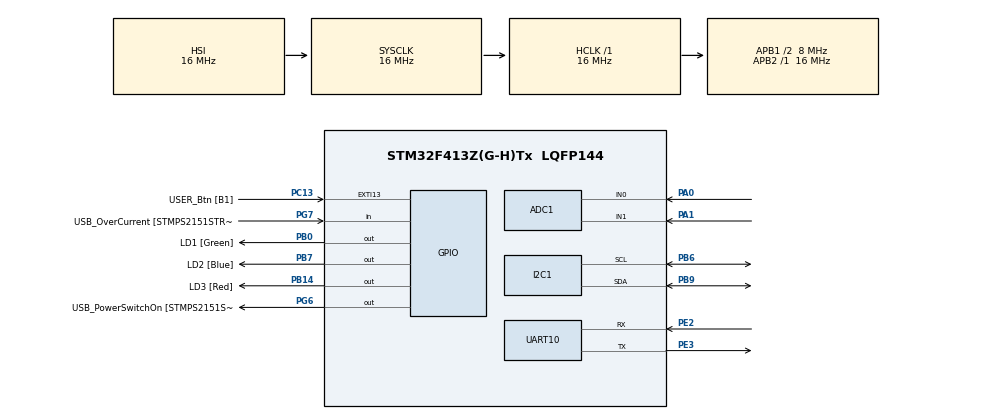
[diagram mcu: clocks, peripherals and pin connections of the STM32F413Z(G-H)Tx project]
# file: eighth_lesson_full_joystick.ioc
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ADC1.Channel-0\#ChannelRegularConversion=ADC_CHANNEL_0
ADC1.Channel-1\#ChannelRegularConversion=ADC_CHANNEL_1
ADC1.ClockPrescaler=ADC_CLOCK_SYNC_PCLK_DIV8
ADC1.ContinuousConvMode=ENABLE
ADC1.DMAContinuousRequests=ENABLE
ADC1.NbrOfConversion=2
ADC1.NbrOfConversionFlag=1
ADC1.Rank-0\#ChannelRegularConversion=1
ADC1.Rank-1\#ChannelRegularConversion=2
ADC1.SamplingTime-0\#ChannelRegularConversion=ADC_SAMPLETIME_480CYCLES
ADC1.SamplingTime-1\#ChannelRegularConversion=ADC_SAMPLETIME_480CYCLES
ADC1.ScanConvMode=ENABLE
ADC1.master=1
Dma.ADC1.0.Direction=DMA_PERIPH_TO_MEMORY
Dma.ADC1.0.FIFOMode=DMA_FIFOMODE_DISABLE
Dma.ADC1.0.Instance=DMA2_Stream0
Dma.ADC1.0.MemDataAlignment=DMA_MDATAALIGN_HALFWORD
Dma.ADC1.0.MemInc=DMA_MINC_ENABLE
Dma.ADC1.0.Mode=DMA_CIRCULAR
Dma.ADC1.0.PeriphDataAlignment=DMA_PDATAALIGN_HALFWORD
Dma.ADC1.0.PeriphInc=DMA_PINC_DISABLE
Dma.ADC1.0.Priority=DMA_PRIORITY_LOW
Dma.Request0=ADC1
Mcu.Family=STM32F4
Mcu.Name=STM32F413Z(G-H)Tx
Mcu.Package=LQFP144
NVIC.DMA2_Stream0_IRQn=true\:0\:0\:false\:false\:true\:false\:true
NVIC.I2C1_EV_IRQn=true\:0\:0\:false\:false\:true\:true\:true
NVIC.PriorityGroup=NVIC_PRIORITYGROUP_4
NVIC.UART10_IRQn=true\:0\:0\:false\:false\:true\:true\:true
PA0.Signal=ADCx_IN0
PA1.Signal=ADCx_IN1
PA10.GPIO_Label=USB_ID
PA10.Signal=USB_OTG_FS_ID
PA11.GPIO_Label=USB_DM
PA11.Signal=USB_OTG_FS_DM
PA12.GPIO_Label=USB_DP
PA12.Signal=USB_OTG_FS_DP
PA13.GPIO_Label=TMS
PA13.Mode=Trace_Asynchronous_SW
PA13.Signal=SYS_JTMS-SWDIO
PA14.GPIO_Label=TCK
PA14.Mode=Trace_Asynchronous_SW
PA14.Signal=SYS_JTCK-SWCLK
PA8.GPIO_Label=USB_SOF [TP1]
PA8.Signal=USB_OTG_FS_SOF
PA9.GPIO_Label=USB_VBUS
PA9.Signal=USB_OTG_FS_VBUS
PB0.GPIO_Label=LD1 [Green]
PB0.Signal=GPIO_Output
PB14.GPIO_Label=LD3 [Red]
PB14.Signal=GPIO_Output
PB3.GPIO_Label=SWO
PB3.Mode=Trace_Asynchronous_SW
PB3.Signal=SYS_JTDO-SWO
PB6.Mode=I2C
PB6.Signal=I2C1_SCL
PB7.GPIO_Label=LD2 [Blue]
PB7.Signal=GPIO_Output
PB9.Mode=I2C
PB9.Signal=I2C1_SDA
PC11.Signal=UART4_RX
PC13.GPIO_Label=USER_Btn [B1]
PC13.Signal=GPXTI13
PC14-OSC32_IN.Signal=RCC_OSC32_IN
PC15-OSC32_OUT.Signal=RCC_OSC32_OUT
PD8.GPIO_Label=STLK_RX [STM32F103CBT6_PA3]
PD8.Signal=USART3_TX
PD9.GPIO_Label=STLK_TX [STM32F103CBT6_PA2]
PD9.Signal=USART3_RX
PE2.Mode=Asynchronous
PE2.Signal=UART10_RX
PE3.Mode=Asynchronous
PE3.Signal=UART10_TX
PG6.GPIO_Label=USB_PowerSwitchOn [STMPS2151STR_EN]
PG6.Signal=GPIO_Output
PG7.GPIO_Label=USB_OverCurrent [STMPS2151STR_FAULT]
PG7.Signal=GPIO_Input
PH0\ -\ OSC_IN.GPIO_Label=MCO
PH0\ -\ OSC_IN.Signal=RCC_OSC_IN
PH1\ -\ OSC_OUT.Signal=RCC_OSC_OUT
ProjectManager.HeapSize=0x200
ProjectManager.StackSize=0x400
ProjectManager.TargetToolchain=MDK-ARM V5
RCC.48MHZClocksFreq_Value=24000000
RCC.AHBFreq_Value=16000000
RCC.APB1CLKDivider=RCC_HCLK_DIV2
RCC.APB1Freq_Value=8000000
RCC.APB1TimFreq_Value=16000000
RCC.APB2Freq_Value=16000000
RCC.APB2TimFreq_Value=16000000
RCC.CortexFreq_Value=16000000
RCC.HCLKFreq_Value=16000000
RCC.HSE_VALUE=8000000
RCC.HSI_VALUE=16000000
RCC.PLLMUL=RCC_PLL_MUL9
RCC.PRESCALERUSB=RCC_USBCLKSOURCE_PLL_DIV1_5
RCC.SYSCLKFreq_VALUE=16000000
RCC.SYSCLKSourceVirtual=RCC_SYSCLKSOURCE_PLLCLK
RCC.USBFreq_Value=96000000
RCC.VCOOutputFreq_Value=192000000
SH.ADCx_IN0.0=ADC1_IN0,IN0
SH.ADCx_IN1.0=ADC1_IN1,IN1
UART10.VirtualMode=Asynchronous
board=NUCLEO-F413ZH

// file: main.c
/* USER CODE BEGIN Header */
/**
  ******************************************************************************
  * @file           : main.c
  * @brief          : Main program body
  ******************************************************************************
  * @attention
  *
  * <h2><center>&copy; Copyright (c) 2022 STMicroelectronics.
  * All rights reserved.</center></h2>
  *
  * This software component is licensed by ST under BSD 3-Clause license,
  * the "License"; You may not use this file except in compliance with the
  * License. You may obtain a copy of the License at:
  *                        opensource.org/licenses/BSD-3-Clause
  *
  ******************************************************************************
  */
/* USER CODE END Header */
#include "main.h"

/* USER CODE BEGIN Includes */
#include "display.h"
#include "joystick.h"
/* USER CODE END Includes */

/* USER CODE BEGIN PD */
#define ADC_CHANNEL_NUMBER 2
/* USER CODE END PD */

ADC_HandleTypeDef hadc1;
DMA_HandleTypeDef hdma_adc1;
I2C_HandleTypeDef hi2c1;
UART_HandleTypeDef huart10;

/* USER CODE BEGIN PV */
uint16_t adc_data[ADC_CHANNEL_NUMBER];
uint8_t response_from_stm[12];
_Bool get_message_from_stm = 0;
/* USER CODE END PV */

void SystemClock_Config(void);
static void MX_GPIO_Init(void);
static void MX_DMA_Init(void);
static void MX_ADC1_Init(void);
static void MX_I2C1_Init(void);
static void MX_UART10_Init(void);

/* USER CODE BEGIN 0 */

void HAL_UART_RxCpltCallback(UART_HandleTypeDef *huart)
{
	get_message_from_stm = 1;
}

/* USER CODE END 0 */

int main(void)
{

  /* MCU Configuration--------------------------------------------------------*/

  /* Reset of all peripherals, Initializes the Flash interface and the Systick. */
  HAL_Init();

  /* Configure the system clock */
  SystemClock_Config();

  /* Initialize all configured peripherals */
  MX_GPIO_Init();
  MX_DMA_Init();
  MX_ADC1_Init();
  MX_I2C1_Init();
  MX_UART10_Init();
  /* USER CODE BEGIN 2 */
	Display_Init();
	HAL_ADC_Start_DMA(&hadc1, (uint32_t *)adc_data, 2);
	HAL_UART_Receive_IT(&huart10, response_from_stm, 12);
  /* USER CODE END 2 */

  /* Infinite loop */
  /* USER CODE BEGIN WHILE */
  while (1)
  {
		HAL_UART_Receive_IT(&huart10, response_from_stm, 12);

		I2C_send(0x2,0); // cursor to the beginning of the line

		Uart_Transmit_Joystick_Data(adc_data); // Send message to PSD for movement

		if(get_message_from_stm == 1)
		{
			Proccess_Data_and_View_To_Display(response_from_stm);
			get_message_from_stm = 0;
		}
    /* USER CODE END WHILE */

  }
}

void SystemClock_Config(void)
{
  RCC_OscInitTypeDef RCC_OscInitStruct = {0};
  RCC_ClkInitTypeDef RCC_ClkInitStruct = {0};

  /** Configure the main internal regulator output voltage
  */
  __HAL_RCC_PWR_CLK_ENABLE();
  __HAL_PWR_VOLTAGESCALING_CONFIG(PWR_REGULATOR_VOLTAGE_SCALE1);
  /** Initializes the RCC Oscillators according to the specified parameters
  * in the RCC_OscInitTypeDef structure.
  */
  RCC_OscInitStruct.OscillatorType = RCC_OSCILLATORTYPE_HSI;
  RCC_OscInitStruct.HSIState = RCC_HSI_ON;
  RCC_OscInitStruct.HSICalibrationValue = RCC_HSICALIBRATION_DEFAULT;
  RCC_OscInitStruct.PLL.PLLState = RCC_PLL_NONE;
  if (HAL_RCC_OscConfig(&RCC_OscInitStruct) != HAL_OK)
  {
    Error_Handler();
  }
  /** Initializes the CPU, AHB and APB buses clocks
  */
  RCC_ClkInitStruct.ClockType = RCC_CLOCKTYPE_HCLK|RCC_CLOCKTYPE_SYSCLK
                              |RCC_CLOCKTYPE_PCLK1|RCC_CLOCKTYPE_PCLK2;
  RCC_ClkInitStruct.SYSCLKSource = RCC_SYSCLKSOURCE_HSI;
  RCC_ClkInitStruct.AHBCLKDivider = RCC_SYSCLK_DIV1;
  RCC_ClkInitStruct.APB1CLKDivider = RCC_HCLK_DIV2;
  RCC_ClkInitStruct.APB2CLKDivider = RCC_HCLK_DIV1;

  if (HAL_RCC_ClockConfig(&RCC_ClkInitStruct, FLASH_LATENCY_0) != HAL_OK)
  {
    Error_Handler();
  }
}

static void MX_ADC1_Init(void)
{

  ADC_ChannelConfTypeDef sConfig = {0};

  /** Configure the global features of the ADC (Clock, Resolution, Data Alignment and number of conversion)
  */
  hadc1.Instance = ADC1;
  hadc1.Init.ClockPrescaler = ADC_CLOCK_SYNC_PCLK_DIV8;
  hadc1.Init.Resolution = ADC_RESOLUTION_12B;
  hadc1.Init.ScanConvMode = ENABLE;
  hadc1.Init.ContinuousConvMode = ENABLE;
  hadc1.Init.DiscontinuousConvMode = DISABLE;
  hadc1.Init.ExternalTrigConvEdge = ADC_EXTERNALTRIGCONVEDGE_NONE;
  hadc1.Init.ExternalTrigConv = ADC_SOFTWARE_START;
  hadc1.Init.DataAlign = ADC_DATAALIGN_RIGHT;
  hadc1.Init.NbrOfConversion = 2;
  hadc1.Init.DMAContinuousRequests = ENABLE;
  hadc1.Init.EOCSelection = ADC_EOC_SINGLE_CONV;
  if (HAL_ADC_Init(&hadc1) != HAL_OK)
  {
    Error_Handler();
  }
  /** Configure for the selected ADC regular channel its corresponding rank in the sequencer and its sample time.
  */
  sConfig.Channel = ADC_CHANNEL_0;
  sConfig.Rank = 1;
  sConfig.SamplingTime = ADC_SAMPLETIME_480CYCLES;
  if (HAL_ADC_ConfigChannel(&hadc1, &sConfig) != HAL_OK)
  {
    Error_Handler();
  }
  /** Configure for the selected ADC regular channel its corresponding rank in the sequencer and its sample time.
  */
  sConfig.Channel = ADC_CHANNEL_1;
  sConfig.Rank = 2;
  if (HAL_ADC_ConfigChannel(&hadc1, &sConfig) != HAL_OK)
  {
    Error_Handler();
  }

}

static void MX_I2C1_Init(void)
{

  hi2c1.Instance = I2C1;
  hi2c1.Init.ClockSpeed = 100000;
  hi2c1.Init.DutyCycle = I2C_DUTYCYCLE_2;
  hi2c1.Init.OwnAddress1 = 0;
  hi2c1.Init.AddressingMode = I2C_ADDRESSINGMODE_7BIT;
  hi2c1.Init.DualAddressMode = I2C_DUALADDRESS_DISABLE;
  hi2c1.Init.OwnAddress2 = 0;
  hi2c1.Init.GeneralCallMode = I2C_GENERALCALL_DISABLE;
  hi2c1.Init.NoStretchMode = I2C_NOSTRETCH_DISABLE;
  if (HAL_I2C_Init(&hi2c1) != HAL_OK)
  {
    Error_Handler();
  }

}

static void MX_UART10_Init(void)
{

  huart10.Instance = UART10;
  huart10.Init.BaudRate = 115200;
  huart10.Init.WordLength = UART_WORDLENGTH_8B;
  huart10.Init.StopBits = UART_STOPBITS_1;
  huart10.Init.Parity = UART_PARITY_NONE;
  huart10.Init.Mode = UART_MODE_TX_RX;
  huart10.Init.HwFlowCtl = UART_HWCONTROL_NONE;
  huart10.Init.OverSampling = UART_OVERSAMPLING_16;
  if (HAL_UART_Init(&huart10) != HAL_OK)
  {
    Error_Handler();
  }

}

static void MX_DMA_Init(void)
{

  /* DMA controller clock enable */
  __HAL_RCC_DMA2_CLK_ENABLE();

  /* DMA interrupt init */
  /* DMA2_Stream0_IRQn interrupt configuration */
  HAL_NVIC_SetPriority(DMA2_Stream0_IRQn, 0, 0);
  HAL_NVIC_EnableIRQ(DMA2_Stream0_IRQn);

}

static void MX_GPIO_Init(void)
{
  GPIO_InitTypeDef GPIO_InitStruct = {0};

  /* GPIO Ports Clock Enable */
  __HAL_RCC_GPIOE_CLK_ENABLE();
  __HAL_RCC_GPIOC_CLK_ENABLE();
  __HAL_RCC_GPIOH_CLK_ENABLE();
  __HAL_RCC_GPIOA_CLK_ENABLE();
  __HAL_RCC_GPIOB_CLK_ENABLE();
  __HAL_RCC_GPIOD_CLK_ENABLE();
  __HAL_RCC_GPIOG_CLK_ENABLE();

  /*Configure GPIO pin Output Level */
  HAL_GPIO_WritePin(GPIOB, LD1_Pin|LD3_Pin|LD2_Pin, GPIO_PIN_RESET);

  /*Configure GPIO pin Output Level */
  HAL_GPIO_WritePin(USB_PowerSwitchOn_GPIO_Port, USB_PowerSwitchOn_Pin, GPIO_PIN_RESET);

  /*Configure GPIO pin : USER_Btn_Pin */
  GPIO_InitStruct.Pin = USER_Btn_Pin;
  GPIO_InitStruct.Mode = GPIO_MODE_IT_RISING;
  GPIO_InitStruct.Pull = GPIO_NOPULL;
  HAL_GPIO_Init(USER_Btn_GPIO_Port, &GPIO_InitStruct);

  /*Configure GPIO pins : LD1_Pin LD3_Pin LD2_Pin */
  GPIO_InitStruct.Pin = LD1_Pin|LD3_Pin|LD2_Pin;
  GPIO_InitStruct.Mode = GPIO_MODE_OUTPUT_PP;
  GPIO_InitStruct.Pull = GPIO_NOPULL;
  GPIO_InitStruct.Speed = GPIO_SPEED_FREQ_LOW;
  HAL_GPIO_Init(GPIOB, &GPIO_InitStruct);

  /*Configure GPIO pins : STLK_RX_Pin STLK_TX_Pin */
  GPIO_InitStruct.Pin = STLK_RX_Pin|STLK_TX_Pin;
  GPIO_InitStruct.Mode = GPIO_MODE_AF_PP;
  GPIO_InitStruct.Pull = GPIO_NOPULL;
  GPIO_InitStruct.Speed = GPIO_SPEED_FREQ_VERY_HIGH;
  GPIO_InitStruct.Alternate = GPIO_AF7_USART3;
  HAL_GPIO_Init(GPIOD, &GPIO_InitStruct);

  /*Configure GPIO pin : USB_PowerSwitchOn_Pin */
  GPIO_InitStruct.Pin = USB_PowerSwitchOn_Pin;
  GPIO_InitStruct.Mode = GPIO_MODE_OUTPUT_PP;
  GPIO_InitStruct.Pull = GPIO_NOPULL;
  GPIO_InitStruct.Speed = GPIO_SPEED_FREQ_LOW;
  HAL_GPIO_Init(USB_PowerSwitchOn_GPIO_Port, &GPIO_InitStruct);

  /*Configure GPIO pin : USB_OverCurrent_Pin */
  GPIO_InitStruct.Pin = USB_OverCurrent_Pin;
  GPIO_InitStruct.Mode = GPIO_MODE_INPUT;
  GPIO_InitStruct.Pull = GPIO_NOPULL;
  HAL_GPIO_Init(USB_OverCurrent_GPIO_Port, &GPIO_InitStruct);

  /*Configure GPIO pins : USB_SOF_Pin USB_ID_Pin USB_DM_Pin USB_DP_Pin */
  GPIO_InitStruct.Pin = USB_SOF_Pin|USB_ID_Pin|USB_DM_Pin|USB_DP_Pin;
  GPIO_InitStruct.Mode = GPIO_MODE_AF_PP;
  GPIO_InitStruct.Pull = GPIO_NOPULL;
  GPIO_InitStruct.Speed = GPIO_SPEED_FREQ_VERY_HIGH;
  GPIO_InitStruct.Alternate = GPIO_AF10_OTG_FS;
  HAL_GPIO_Init(GPIOA, &GPIO_InitStruct);

  /*Configure GPIO pin : PC11 */
  GPIO_InitStruct.Pin = GPIO_PIN_11;
  GPIO_InitStruct.Mode = GPIO_MODE_AF_PP;
  GPIO_InitStruct.Pull = GPIO_NOPULL;
  GPIO_InitStruct.Speed = GPIO_SPEED_FREQ_VERY_HIGH;
  GPIO_InitStruct.Alternate = GPIO_AF8_UART4;
  HAL_GPIO_Init(GPIOC, &GPIO_InitStruct);

}

void Error_Handler(void)
{
  __disable_irq();
  while (1)
  {
  }
}

/************************ (C) COPYRIGHT STMicroelectronics *****END OF FILE****/
